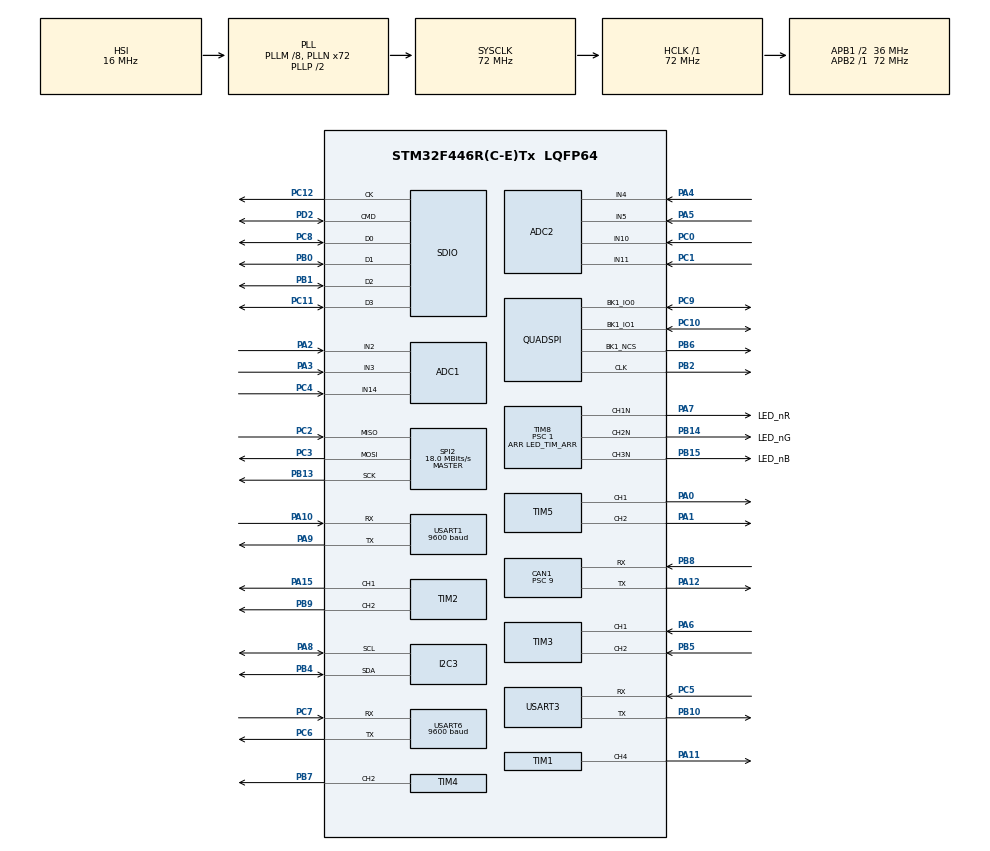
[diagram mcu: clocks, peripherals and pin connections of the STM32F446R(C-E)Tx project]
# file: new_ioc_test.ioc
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ADC1.Channel-95\#ChannelRegularConversion=ADC_CHANNEL_2
ADC1.NbrOfConversionFlag=1
ADC1.Rank-95\#ChannelRegularConversion=1
ADC1.SamplingTime-95\#ChannelRegularConversion=ADC_SAMPLETIME_3CYCLES
ADC1.master=1
ADC2.Channel-88\#ChannelRegularConversion=ADC_CHANNEL_4
ADC2.NbrOfConversionFlag=1
ADC2.Rank-88\#ChannelRegularConversion=1
ADC2.SamplingTime-88\#ChannelRegularConversion=ADC_SAMPLETIME_3CYCLES
CAN1.BS1=CAN_BS1_13TQ
CAN1.BS2=CAN_BS2_2TQ
CAN1.CalculateTimeQuantum=250.0
CAN1.Prescaler=9
Dma.I2C3_RX.2.Direction=DMA_PERIPH_TO_MEMORY
Dma.I2C3_RX.2.FIFOMode=DMA_FIFOMODE_DISABLE
Dma.I2C3_RX.2.Instance=DMA1_Stream2
Dma.I2C3_RX.2.MemDataAlignment=DMA_MDATAALIGN_BYTE
Dma.I2C3_RX.2.MemInc=DMA_MINC_ENABLE
Dma.I2C3_RX.2.Mode=DMA_NORMAL
Dma.I2C3_RX.2.PeriphDataAlignment=DMA_PDATAALIGN_BYTE
Dma.I2C3_RX.2.PeriphInc=DMA_PINC_DISABLE
Dma.I2C3_RX.2.Priority=DMA_PRIORITY_LOW
Dma.Request0=SDIO_RX
Dma.Request1=SDIO_TX
Dma.Request2=I2C3_RX
Dma.Request3=USART3_RX
Dma.Request4=USART3_TX
Dma.SDIO_RX.0.Direction=DMA_PERIPH_TO_MEMORY
Dma.SDIO_RX.0.FIFOMode=DMA_FIFOMODE_ENABLE
Dma.SDIO_RX.0.FIFOThreshold=DMA_FIFO_THRESHOLD_FULL
Dma.SDIO_RX.0.Instance=DMA2_Stream6
Dma.SDIO_RX.0.MemBurst=DMA_MBURST_INC4
Dma.SDIO_RX.0.MemDataAlignment=DMA_MDATAALIGN_WORD
Dma.SDIO_RX.0.MemInc=DMA_MINC_ENABLE
Dma.SDIO_RX.0.Mode=DMA_PFCTRL
Dma.SDIO_RX.0.PeriphBurst=DMA_PBURST_INC4
Dma.SDIO_RX.0.PeriphDataAlignment=DMA_PDATAALIGN_WORD
Dma.SDIO_RX.0.PeriphInc=DMA_PINC_DISABLE
Dma.SDIO_RX.0.Priority=DMA_PRIORITY_LOW
Dma.SDIO_TX.1.Direction=DMA_MEMORY_TO_PERIPH
Dma.SDIO_TX.1.FIFOMode=DMA_FIFOMODE_ENABLE
Dma.SDIO_TX.1.FIFOThreshold=DMA_FIFO_THRESHOLD_FULL
Dma.SDIO_TX.1.Instance=DMA2_Stream3
Dma.SDIO_TX.1.MemBurst=DMA_MBURST_INC4
Dma.SDIO_TX.1.MemDataAlignment=DMA_MDATAALIGN_WORD
Dma.SDIO_TX.1.MemInc=DMA_MINC_ENABLE
Dma.SDIO_TX.1.Mode=DMA_PFCTRL
Dma.SDIO_TX.1.PeriphBurst=DMA_PBURST_INC4
Dma.SDIO_TX.1.PeriphDataAlignment=DMA_PDATAALIGN_WORD
Dma.SDIO_TX.1.PeriphInc=DMA_PINC_DISABLE
Dma.SDIO_TX.1.Priority=DMA_PRIORITY_LOW
Dma.USART3_RX.3.Direction=DMA_PERIPH_TO_MEMORY
Dma.USART3_RX.3.FIFOMode=DMA_FIFOMODE_DISABLE
Dma.USART3_RX.3.Instance=DMA1_Stream1
Dma.USART3_RX.3.MemDataAlignment=DMA_MDATAALIGN_BYTE
Dma.USART3_RX.3.MemInc=DMA_MINC_ENABLE
Dma.USART3_RX.3.Mode=DMA_NORMAL
Dma.USART3_RX.3.PeriphDataAlignment=DMA_PDATAALIGN_BYTE
Dma.USART3_RX.3.PeriphInc=DMA_PINC_DISABLE
Dma.USART3_RX.3.Priority=DMA_PRIORITY_LOW
Dma.USART3_TX.4.Direction=DMA_MEMORY_TO_PERIPH
Dma.USART3_TX.4.FIFOMode=DMA_FIFOMODE_DISABLE
Dma.USART3_TX.4.Instance=DMA1_Stream4
Dma.USART3_TX.4.MemDataAlignment=DMA_MDATAALIGN_BYTE
Dma.USART3_TX.4.MemInc=DMA_MINC_ENABLE
Dma.USART3_TX.4.Mode=DMA_NORMAL
Dma.USART3_TX.4.PeriphDataAlignment=DMA_PDATAALIGN_BYTE
Dma.USART3_TX.4.PeriphInc=DMA_PINC_DISABLE
Dma.USART3_TX.4.Priority=DMA_PRIORITY_LOW
FATFS._USE_STRFUNC=0
FREERTOS.Tasks01=defaultTask,0,128,StartDefaultTask,Default,NULL,Dynamic,NULL,NULL;readCAN,0,128,StartReadCAN,Default,NULL,Dynamic,NULL,NULL
Mcu.Family=STM32F4
Mcu.Name=STM32F446R(C-E)Tx
Mcu.Package=LQFP64
Mcu.UserConstants=LED_TIM_ARR,1000
NVIC.DMA1_Stream1_IRQn=true\:5\:0\:false\:false\:true\:true\:false
NVIC.DMA1_Stream2_IRQn=true\:5\:0\:false\:false\:true\:true\:false
NVIC.DMA1_Stream4_IRQn=true\:5\:0\:false\:false\:true\:true\:false
NVIC.DMA2_Stream3_IRQn=true\:5\:0\:false\:false\:true\:true\:false
NVIC.DMA2_Stream6_IRQn=true\:5\:0\:false\:false\:true\:true\:false
NVIC.PriorityGroup=NVIC_PRIORITYGROUP_4
NVIC.SDIO_IRQn=true\:5\:0\:false\:false\:true\:true\:true
PA0-WKUP.Signal=S_TIM5_CH1
PA1.Signal=S_TIM5_CH2
PA10.Mode=Asynchronous
PA10.Signal=USART1_RX
PA11.Signal=S_TIM1_CH4
PA12.Mode=Master
PA12.Signal=CAN1_TX
PA13.Mode=Trace_Asynchronous_SW
PA13.Signal=SYS_JTMS-SWDIO
PA14.Mode=Trace_Asynchronous_SW
PA14.Signal=SYS_JTCK-SWCLK
PA15.Signal=S_TIM2_CH1_ETR
PA2.Signal=ADCx_IN2
PA3.Signal=ADCx_IN3
PA4.Signal=ADCx_IN4
PA5.Signal=ADCx_IN5
PA6.Signal=S_TIM3_CH1
PA7.GPIO_Label=LED_nR
PA7.Mode=PWM Generation1 CH1N
PA7.Signal=TIM8_CH1N
PA8.Mode=I2C
PA8.Signal=I2C3_SCL
PA9.Mode=Asynchronous
PA9.Signal=USART1_TX
PB0.Mode=SD_4_bits_Wide_bus
PB0.Signal=SDIO_D1
PB1.Mode=SD_4_bits_Wide_bus
PB1.Signal=SDIO_D2
PB10.Mode=Asynchronous
PB10.Signal=USART3_TX
PB13.Mode=Full_Duplex_Master
PB13.Signal=SPI2_SCK
PB14.GPIO_Label=LED_nG
PB14.Mode=PWM Generation2 CH2N
PB14.Signal=TIM8_CH2N
PB15.GPIO_Label=LED_nB
PB15.Mode=PWM Generation3 CH3N
PB15.Signal=TIM8_CH3N
PB2.Mode=Single Bank 1 2IOs
PB2.Signal=QUADSPI_CLK
PB3.Mode=Trace_Asynchronous_SW
PB3.Signal=SYS_JTDO-SWO
PB4.Mode=I2C
PB4.Signal=I2C3_SDA
PB5.Signal=S_TIM3_CH2
PB6.Mode=Single Bank 1 2IOs
PB6.Signal=QUADSPI_BK1_NCS
PB7.Signal=S_TIM4_CH2
PB8.Mode=Master
PB8.Signal=CAN1_RX
PB9.Signal=S_TIM2_CH2
PC0.Signal=ADCx_IN10
PC1.Signal=ADCx_IN11
PC10.Mode=Single Bank 1 2IOs
PC10.Signal=QUADSPI_BK1_IO1
PC11.Mode=SD_4_bits_Wide_bus
PC11.Signal=SDIO_D3
PC12.Mode=SD_4_bits_Wide_bus
PC12.Signal=SDIO_CK
PC14-OSC32_IN.Mode=LSE-External-Oscillator
PC14-OSC32_IN.Signal=RCC_OSC32_IN
PC15-OSC32_OUT.Mode=LSE-External-Oscillator
PC15-OSC32_OUT.Signal=RCC_OSC32_OUT
PC2.Mode=Full_Duplex_Master
PC2.Signal=SPI2_MISO
PC3.Mode=Full_Duplex_Master
PC3.Signal=SPI2_MOSI
PC4.Signal=ADCx_IN14
PC5.Mode=Asynchronous
PC5.Signal=USART3_RX
PC6.Mode=Asynchronous
PC6.Signal=USART6_TX
PC7.Mode=Asynchronous
PC7.Signal=USART6_RX
PC8.Mode=SD_4_bits_Wide_bus
PC8.Signal=SDIO_D0
PC9.Mode=Single Bank 1 2IOs
PC9.Signal=QUADSPI_BK1_IO0
PD2.Mode=SD_4_bits_Wide_bus
PD2.Signal=SDIO_CMD
PH0-OSC_IN.Mode=HSE-External-Oscillator
PH0-OSC_IN.Signal=RCC_OSC_IN
PH1-OSC_OUT.Mode=HSE-External-Oscillator
PH1-OSC_OUT.Signal=RCC_OSC_OUT
ProjectManager.HeapSize=0x200
ProjectManager.StackSize=0x400
ProjectManager.TargetToolchain=TrueSTUDIO
RCC.AHBFreq_Value=72000000
RCC.APB1CLKDivider=RCC_HCLK_DIV2
RCC.APB1Freq_Value=36000000
RCC.APB1TimFreq_Value=72000000
RCC.APB2Freq_Value=72000000
RCC.APB2TimFreq_Value=72000000
RCC.CortexFreq_Value=72000000
RCC.HCLKFreq_Value=72000000
RCC.HSE_VALUE=8000000
RCC.PLLM=8
RCC.PLLN=72
RCC.PLLQ=3
RCC.SYSCLKFreq_VALUE=72000000
RCC.SYSCLKSource=RCC_SYSCLKSOURCE_PLLCLK
RCC.USBFreq_Value=48000000
RCC.VCOOutputFreq_Value=144000000
SH.ADCx_IN10.0=ADC2_IN10,IN10
SH.ADCx_IN11.0=ADC2_IN11,IN11
SH.ADCx_IN14.0=ADC1_IN14,IN14
SH.ADCx_IN2.0=ADC1_IN2,IN2
SH.ADCx_IN3.0=ADC1_IN3,IN3
SH.ADCx_IN4.0=ADC2_IN4,IN4
SH.ADCx_IN5.0=ADC2_IN5,IN5
SH.S_TIM1_CH4.0=TIM1_CH4,Output Compare4 CH4
SH.S_TIM2_CH1_ETR.0=TIM2_CH1,Output Compare1 CH1
SH.S_TIM2_CH2.0=TIM2_CH2,Output Compare2 CH2
SH.S_TIM3_CH1.0=TIM3_CH1,TriggerSource_TI1FP1
SH.S_TIM3_CH2.0=TIM3_CH2,Input_Capture2_from_TI2
SH.S_TIM4_CH2.0=TIM4_CH2,Output Compare2 CH2
SH.S_TIM5_CH1.0=TIM5_CH1,Output Compare1 CH1
SH.S_TIM5_CH2.0=TIM5_CH2,Output Compare2 CH2
SPI2.BaudRatePrescaler=SPI_BAUDRATEPRESCALER_2
SPI2.CalculateBaudRate=18.0 MBits/s
SPI2.Direction=SPI_DIRECTION_2LINES
SPI2.Mode=SPI_MODE_MASTER
SPI2.VirtualType=VM_MASTER
TIM1.Channel-Output\ Compare4\ CH4=TIM_CHANNEL_4
TIM2.Channel-Output\ Compare1\ CH1=TIM_CHANNEL_1
TIM2.Channel-Output\ Compare2\ CH2=TIM_CHANNEL_2
TIM3.Channel-Input_Capture2_from_TI2=TIM_CHANNEL_2
TIM4.Channel-Output\ Compare2\ CH2=TIM_CHANNEL_2
TIM5.Channel-Output\ Compare1\ CH1=TIM_CHANNEL_1
TIM5.Channel-Output\ Compare2\ CH2=TIM_CHANNEL_2
TIM8.Channel-PWM\ Generation1\ CH1N=TIM_CHANNEL_1
TIM8.Channel-PWM\ Generation2\ CH2N=TIM_CHANNEL_2
TIM8.Channel-PWM\ Generation3\ CH3N=TIM_CHANNEL_3
TIM8.OCMode_PWM-PWM\ Generation1\ CH1N=TIM_OCMODE_PWM2
TIM8.OCMode_PWM-PWM\ Generation2\ CH2N=TIM_OCMODE_PWM2
TIM8.OCMode_PWM-PWM\ Generation3\ CH3N=TIM_OCMODE_PWM2
TIM8.Period=LED_TIM_ARR
TIM8.Prescaler=1
USART1.BaudRate=9600
USART1.VirtualMode=VM_ASYNC
USART3.VirtualMode=VM_ASYNC
USART6.BaudRate=9600
USART6.VirtualMode=VM_ASYNC
VP_FATFS_VS_SDIO.Mode=SDIO
VP_FREERTOS_VS_ENABLE.Mode=Enabled
VP_TIM1_VS_ClockSourceINT.Mode=Internal
VP_TIM2_VS_ClockSourceINT.Mode=Internal
VP_TIM3_VS_ControllerModeClock.Mode=Clock Mode
VP_TIM4_VS_ClockSourceINT.Mode=Internal
VP_TIM5_VS_ClockSourceINT.Mode=Internal
VP_TIM8_VS_ClockSourceINT.Mode=Internal
board=custom

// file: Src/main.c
/* USER CODE BEGIN Header */
/**
  ******************************************************************************
  * @file           : main.c
  * @brief          : Main program body
  ******************************************************************************
  * This notice applies to any and all portions of this file
  * that are not between comment pairs USER CODE BEGIN and
  * USER CODE END. Other portions of this file, whether
  * inserted by the user or by software development tools
  * are owned by their respective copyright owners.
  *
  * Copyright (c) 2019 STMicroelectronics International N.V.
  * All rights reserved.
  *
  * Redistribution and use in source and binary forms, with or without
  * modification, are permitted, provided that the following conditions are met:
  *
  * 1. Redistribution of source code must retain the above copyright notice,
  *    this list of conditions and the following disclaimer.
  * 2. Redistributions in binary form must reproduce the above copyright notice,
  *    this list of conditions and the following disclaimer in the documentation
  *    and/or other materials provided with the distribution.
  * 3. Neither the name of STMicroelectronics nor the names of other
  *    contributors to this software may be used to endorse or promote products
  *    derived from this software without specific written permission.
  * 4. This software, including modifications and/or derivative works of this
  *    software, must execute solely and exclusively on microcontroller or
  *    microprocessor devices manufactured by or for STMicroelectronics.
  * 5. Redistribution and use of this software other than as permitted under
  *    this license is void and will automatically terminate your rights under
  *    this license.
  *
  * THIS SOFTWARE IS PROVIDED BY STMICROELECTRONICS AND CONTRIBUTORS "AS IS"
  * AND ANY EXPRESS, IMPLIED OR STATUTORY WARRANTIES, INCLUDING, BUT NOT
  * LIMITED TO, THE IMPLIED WARRANTIES OF MERCHANTABILITY, FITNESS FOR A
  * PARTICULAR PURPOSE AND NON-INFRINGEMENT OF THIRD PARTY INTELLECTUAL PROPERTY
  * RIGHTS ARE DISCLAIMED TO THE FULLEST EXTENT PERMITTED BY LAW. IN NO EVENT
  * SHALL STMICROELECTRONICS OR CONTRIBUTORS BE LIABLE FOR ANY DIRECT, INDIRECT,
  * INCIDENTAL, SPECIAL, EXEMPLARY, OR CONSEQUENTIAL DAMAGES (INCLUDING, BUT NOT
  * LIMITED TO, PROCUREMENT OF SUBSTITUTE GOODS OR SERVICES; LOSS OF USE, DATA,
  * OR PROFITS; OR BUSINESS INTERRUPTION) HOWEVER CAUSED AND ON ANY THEORY OF
  * LIABILITY, WHETHER IN CONTRACT, STRICT LIABILITY, OR TORT (INCLUDING
  * NEGLIGENCE OR OTHERWISE) ARISING IN ANY WAY OUT OF THE USE OF THIS SOFTWARE,
  * EVEN IF ADVISED OF THE POSSIBILITY OF SUCH DAMAGE.
  *
  ******************************************************************************
  */
/* USER CODE END Header */

#include "main.h"
#include "cmsis_os.h"
#include "adc.h"
#include "can.h"
#include "dma.h"
#include "fatfs.h"
#include "i2c.h"
#include "quadspi.h"
#include "sdio.h"
#include "spi.h"
#include "tim.h"
#include "usart.h"
#include "gpio.h"

/* USER CODE BEGIN Includes */
#include "CAN_communication.h"
#include "led.h"
/* USER CODE END Includes */

void SystemClock_Config(void);
void MX_FREERTOS_Init(void);

int main(void)
{

  /* MCU Configuration--------------------------------------------------------*/

  /* Reset of all peripherals, Initializes the Flash interface and the Systick. */
  HAL_Init();

  /* Configure the system clock */
  SystemClock_Config();

  /* Initialize all configured peripherals */
  MX_GPIO_Init();
  MX_DMA_Init();
  MX_ADC1_Init();
  MX_ADC2_Init();
  MX_CAN1_Init();
  MX_I2C3_Init();
  MX_QUADSPI_Init();
  MX_SDIO_SD_Init();
  MX_SPI2_Init();
  MX_TIM1_Init();
  MX_TIM2_Init();
  MX_TIM3_Init();
  MX_TIM4_Init();
  MX_TIM5_Init();
  MX_TIM8_Init();
  MX_USART1_UART_Init();
  MX_USART3_UART_Init();
  MX_USART6_UART_Init();
  /* USER CODE BEGIN 2 */
  CAN_Config(ID_MASTER);
  led_init();
  /* USER CODE END 2 */

  /* Call init function for freertos objects (in freertos.c) */
  MX_FREERTOS_Init();

  /* Start scheduler */
  osKernelStart();

  /* We should never get here as control is now taken by the scheduler */

  /* Infinite loop */
  while (1)
  {

  }
}

void SystemClock_Config(void)
{
  RCC_OscInitTypeDef RCC_OscInitStruct = {0};
  RCC_ClkInitTypeDef RCC_ClkInitStruct = {0};
  RCC_PeriphCLKInitTypeDef PeriphClkInitStruct = {0};

  /**Configure the main internal regulator output voltage
  */
  __HAL_RCC_PWR_CLK_ENABLE();
  __HAL_PWR_VOLTAGESCALING_CONFIG(PWR_REGULATOR_VOLTAGE_SCALE3);
  /**Initializes the CPU, AHB and APB busses clocks
  */
  RCC_OscInitStruct.OscillatorType = RCC_OSCILLATORTYPE_HSI;
  RCC_OscInitStruct.HSIState = RCC_HSI_ON;
  RCC_OscInitStruct.HSICalibrationValue = RCC_HSICALIBRATION_DEFAULT;
  RCC_OscInitStruct.PLL.PLLState = RCC_PLL_ON;
  RCC_OscInitStruct.PLL.PLLSource = RCC_PLLSOURCE_HSI;
  RCC_OscInitStruct.PLL.PLLM = 8;
  RCC_OscInitStruct.PLL.PLLN = 72;
  RCC_OscInitStruct.PLL.PLLP = RCC_PLLP_DIV2;
  RCC_OscInitStruct.PLL.PLLQ = 3;
  RCC_OscInitStruct.PLL.PLLR = 2;
  if (HAL_RCC_OscConfig(&RCC_OscInitStruct) != HAL_OK)
  {
    Error_Handler();
  }
  /**Initializes the CPU, AHB and APB busses clocks
  */
  RCC_ClkInitStruct.ClockType = RCC_CLOCKTYPE_HCLK|RCC_CLOCKTYPE_SYSCLK
                              |RCC_CLOCKTYPE_PCLK1|RCC_CLOCKTYPE_PCLK2;
  RCC_ClkInitStruct.SYSCLKSource = RCC_SYSCLKSOURCE_PLLCLK;
  RCC_ClkInitStruct.AHBCLKDivider = RCC_SYSCLK_DIV1;
  RCC_ClkInitStruct.APB1CLKDivider = RCC_HCLK_DIV2;
  RCC_ClkInitStruct.APB2CLKDivider = RCC_HCLK_DIV1;

  if (HAL_RCC_ClockConfig(&RCC_ClkInitStruct, FLASH_LATENCY_2) != HAL_OK)
  {
    Error_Handler();
  }
  PeriphClkInitStruct.PeriphClockSelection = RCC_PERIPHCLK_SDIO|RCC_PERIPHCLK_CLK48;
  PeriphClkInitStruct.Clk48ClockSelection = RCC_CLK48CLKSOURCE_PLLQ;
  PeriphClkInitStruct.SdioClockSelection = RCC_SDIOCLKSOURCE_CLK48;
  if (HAL_RCCEx_PeriphCLKConfig(&PeriphClkInitStruct) != HAL_OK)
  {
    Error_Handler();
  }
}

void Error_Handler(void)
{
}

/************************ (C) COPYRIGHT STMicroelectronics *****END OF FILE****/

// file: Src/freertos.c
/* USER CODE BEGIN Header */
/**
  ******************************************************************************
  * File Name          : freertos.c
  * Description        : Code for freertos applications
  ******************************************************************************
  * This notice applies to any and all portions of this file
  * that are not between comment pairs USER CODE BEGIN and
  * USER CODE END. Other portions of this file, whether
  * inserted by the user or by software development tools
  * are owned by their respective copyright owners.
  *
  * Copyright (c) 2019 STMicroelectronics International N.V.
  * All rights reserved.
  *
  * Redistribution and use in source and binary forms, with or without
  * modification, are permitted, provided that the following conditions are met:
  *
  * 1. Redistribution of source code must retain the above copyright notice,
  *    this list of conditions and the following disclaimer.
  * 2. Redistributions in binary form must reproduce the above copyright notice,
  *    this list of conditions and the following disclaimer in the documentation
  *    and/or other materials provided with the distribution.
  * 3. Neither the name of STMicroelectronics nor the names of other
  *    contributors to this software may be used to endorse or promote products
  *    derived from this software without specific written permission.
  * 4. This software, including modifications and/or derivative works of this
  *    software, must execute solely and exclusively on microcontroller or
  *    microprocessor devices manufactured by or for STMicroelectronics.
  * 5. Redistribution and use of this software other than as permitted under
  *    this license is void and will automatically terminate your rights under
  *    this license.
  *
  * THIS SOFTWARE IS PROVIDED BY STMICROELECTRONICS AND CONTRIBUTORS "AS IS"
  * AND ANY EXPRESS, IMPLIED OR STATUTORY WARRANTIES, INCLUDING, BUT NOT
  * LIMITED TO, THE IMPLIED WARRANTIES OF MERCHANTABILITY, FITNESS FOR A
  * PARTICULAR PURPOSE AND NON-INFRINGEMENT OF THIRD PARTY INTELLECTUAL PROPERTY
  * RIGHTS ARE DISCLAIMED TO THE FULLEST EXTENT PERMITTED BY LAW. IN NO EVENT
  * SHALL STMICROELECTRONICS OR CONTRIBUTORS BE LIABLE FOR ANY DIRECT, INDIRECT,
  * INCIDENTAL, SPECIAL, EXEMPLARY, OR CONSEQUENTIAL DAMAGES (INCLUDING, BUT NOT
  * LIMITED TO, PROCUREMENT OF SUBSTITUTE GOODS OR SERVICES; LOSS OF USE, DATA,
  * OR PROFITS; OR BUSINESS INTERRUPTION) HOWEVER CAUSED AND ON ANY THEORY OF
  * LIABILITY, WHETHER IN CONTRACT, STRICT LIABILITY, OR TORT (INCLUDING
  * NEGLIGENCE OR OTHERWISE) ARISING IN ANY WAY OUT OF THE USE OF THIS SOFTWARE,
  * EVEN IF ADVISED OF THE POSSIBILITY OF SUCH DAMAGE.
  *
  ******************************************************************************
  */
/* USER CODE END Header */

#include "FreeRTOS.h"
#include "task.h"
#include "main.h"
#include "cmsis_os.h"

/* USER CODE BEGIN Includes */
#include <math.h>

#include "CAN_communication.h"
#include "Misc/Common.h"
#include "Misc/rocket_constants.h"
#include "led.h"
extern CAN_HandleTypeDef hcan1;
extern void TK_state_machine(void const * argument);
extern float IMUb[6];
extern float zdata[4];
volatile int IMU_avail = 0;
/* USER CODE END Includes */

/* USER CODE BEGIN Variables */
IMU_data IMU_buffer[CIRC_BUFFER_SIZE] CCMRAM;
BARO_data BARO_buffer[CIRC_BUFFER_SIZE] CCMRAM;
osThreadId state_machineHandle;
osThreadId kalman_handle;
extern void TK_kalman(void const * argument);
/* USER CODE END Variables */
osThreadId defaultTaskHandle;
osThreadId readCANHandle;

/* USER CODE BEGIN FunctionPrototypes */
inline float altitudeFromPressure(float pressure_hPa)
{
	return 44330 * (1.0 - pow (pressure_hPa / ADJUSTED_SEA_LEVEL_PRESSURE, 0.1903));
}
/* USER CODE END FunctionPrototypes */

void StartDefaultTask(void const * argument);
void StartReadCAN(void const * argument);

extern void MX_FATFS_Init(void);
void MX_FREERTOS_Init(void); /* (MISRA C 2004 rule 8.1) */

void MX_FREERTOS_Init(void) {

  /* Create the thread(s) */
  /* definition and creation of defaultTask */
  osThreadDef(defaultTask, StartDefaultTask, osPriorityNormal, 0, 128);
  defaultTaskHandle = osThreadCreate(osThread(defaultTask), NULL);

  /* definition and creation of readCAN */
  osThreadDef(readCAN, StartReadCAN, osPriorityNormal, 0, 128);
  readCANHandle = osThreadCreate(osThread(readCAN), NULL);

  /* USER CODE BEGIN RTOS_THREADS */
  /* definition and creation of state_machine */
  osThreadDef(state_machine, TK_state_machine, osPriorityHigh, 0, 1024);
  state_machineHandle = osThreadCreate(osThread(state_machine), NULL);

  /* definition and creation of kalman */
  osThreadDef(kalman, TK_kalman, osPriorityHigh, 0, 1024);
  kalman_handle = osThreadCreate(osThread(kalman), NULL);
  /* USER CODE END RTOS_THREADS */

}

void StartDefaultTask(void const * argument)
{
  /* init code for FATFS */
  MX_FATFS_Init();

  /* USER CODE BEGIN StartDefaultTask */
  /* Infinite loop */
  for(;;)
  {
    osDelay(1);
  };
  /* USER CODE END StartDefaultTask */
}

void StartReadCAN(void const * argument)
{
  /* USER CODE BEGIN StartReadCAN */
  /* Infinite loop */
	BARO_data* new_baro_data = 0;
	IMU_data* new_imu_data = 0;
	uint32_t timestamp = HAL_GetTick();
	uint32_t a = HAL_GetTick();
	uint32_t last_imu_meas = HAL_GetTick();
	uint8_t oldState = currentState;
	while (1) {
		// Send the state of the rocket
		osDelay(5);
		a = HAL_GetTick();
		if (a - timestamp > 2000) {
			setFrame(0, currentState, a);
			timestamp = a;
		}
		if (currentState != oldState) {
			setFrame(0, currentState, a);
			oldState = currentState;
		}
		if (readFrame() > 0) {
			if (current_msg.id_CAN == ID_GPS_SENSOR) {
				if (current_msg.id == DATA_ID_ALTITUDE) {
					new_baro_data = &BARO_buffer[(currentBaroSeqNumber + 1) % CIRC_BUFFER_SIZE];
					new_imu_data = &IMU_buffer[(currentImuSeqNumber + 1) % CIRC_BUFFER_SIZE];
					new_baro_data->pressure = ((float32_t) ((int32_t) current_msg.data)) / 100; // convert from Pa to hPa
					new_baro_data->altitude = altitudeFromPressure(new_baro_data->pressure);
					zdata[3] = new_baro_data->altitude;

					// mock gps estimate
					zdata[0] = 0;
					zdata[1] = 0;
					zdata[2] = zdata[3];
				}
				//IMUb[] acc_x, acc_y, acc_z, gyro_x, gyro_y, gyro_z //zdata gps_x, gps_y, gps_z, alt
				else if (current_msg.id == DATA_ID_ACCELERATION_X) {
					new_imu_data->acceleration.x = ((float32_t) ((int32_t) current_msg.data)) / 1000 * 9.81; // convert from m-g to g to m/s;
					IMUb[0] = new_imu_data->acceleration.x;
				}
				else if (current_msg.id == DATA_ID_ACCELERATION_Y) {
					new_imu_data->acceleration.y = ((float32_t) ((int32_t) current_msg.data)) / 1000 * 9.81; // convert from m-g to g to m/s;
					IMUb[1] = new_imu_data->acceleration.y;
				}
				else if (current_msg.id == DATA_ID_ACCELERATION_Z) {
					new_imu_data->acceleration.z = ((float32_t) ((int32_t) current_msg.data)) / 1000 * 9.81; // convert from m-g to g to m/s;
					IMUb[2] = new_imu_data->acceleration.z;
				}
				else if (current_msg.id == DATA_ID_GYRO_X) {
					new_imu_data->gyro_rps.x = current_msg.data;
					IMUb[3] = 0*current_msg.data; // discard gyro
				}
				else if (current_msg.id == DATA_ID_GYRO_Y) {
					new_imu_data->gyro_rps.y = current_msg.data;
					IMUb[4] = 0*current_msg.data; // discard gyro
				}
				else if (current_msg.id == DATA_ID_GYRO_Z) {
					new_imu_data->gyro_rps.z = current_msg.data;
					IMUb[5] = 0*current_msg.data; // discard gyro
					if (HAL_GetTick() - last_imu_meas > 100) { // 10 Hz update
						IMU_avail = 1; // assume gyro is the last data
						last_imu_meas = HAL_GetTick();
					}
				    currentBaroSeqNumber++;
				    currentImuSeqNumber++;
				}
			}

		}
	}
  /* USER CODE END StartReadCAN */
}

/************************ (C) COPYRIGHT STMicroelectronics *****END OF FILE****/
